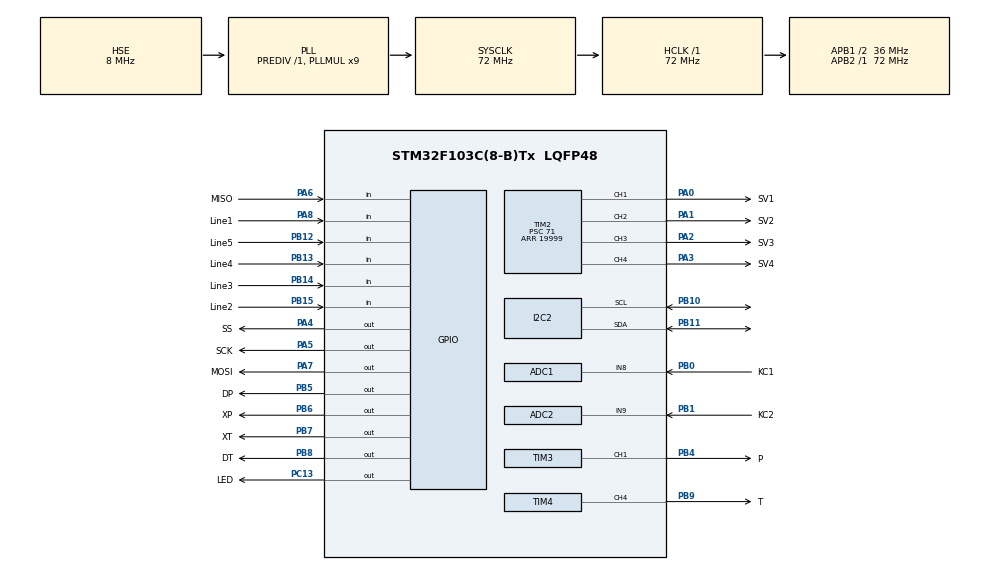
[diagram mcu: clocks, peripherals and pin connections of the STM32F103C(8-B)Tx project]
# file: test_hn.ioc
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ADC1.Channel-7\#ChannelRegularConversion=ADC_CHANNEL_8
ADC1.ContinuousConvMode=ENABLE
ADC1.NbrOfConversionFlag=1
ADC1.Rank-7\#ChannelRegularConversion=1
ADC1.SamplingTime-7\#ChannelRegularConversion=ADC_SAMPLETIME_239CYCLES_5
ADC1.master=1
ADC2.Channel-0\#ChannelRegularConversion=ADC_CHANNEL_9
ADC2.ContinuousConvMode=ENABLE
ADC2.NbrOfConversionFlag=1
ADC2.Rank-0\#ChannelRegularConversion=1
ADC2.SamplingTime-0\#ChannelRegularConversion=ADC_SAMPLETIME_239CYCLES_5
Mcu.Family=STM32F1
Mcu.Name=STM32F103C(8-B)Tx
Mcu.Package=LQFP48
NVIC.ADC1_2_IRQn=true\:0\:0\:false\:false\:true\:true\:true\:true
NVIC.PriorityGroup=NVIC_PRIORITYGROUP_4
PA0-WKUP.GPIO_Label=SV1
PA0-WKUP.Signal=S_TIM2_CH1_ETR
PA1.GPIO_Label=SV2
PA1.Signal=S_TIM2_CH2
PA13.Mode=Serial_Wire
PA13.Signal=SYS_JTMS-SWDIO
PA14.Mode=Serial_Wire
PA14.Signal=SYS_JTCK-SWCLK
PA2.GPIO_Label=SV3
PA2.Signal=S_TIM2_CH3
PA3.GPIO_Label=SV4
PA3.Signal=S_TIM2_CH4
PA4.GPIO_Label=SS
PA4.PinState=GPIO_PIN_SET
PA4.Signal=GPIO_Output
PA5.GPIO_Label=SCK
PA5.PinState=GPIO_PIN_SET
PA5.Signal=GPIO_Output
PA6.GPIO_Label=MISO
PA6.Signal=GPIO_Input
PA7.GPIO_Label=MOSI
PA7.PinState=GPIO_PIN_SET
PA7.Signal=GPIO_Output
PA8.GPIO_Label=Line1
PA8.Signal=GPIO_Input
PB0.GPIO_Label=KC1
PB0.Signal=ADCx_IN8
PB1.GPIO_Label=KC2
PB1.Signal=ADCx_IN9
PB10.Mode=I2C
PB10.Signal=I2C2_SCL
PB11.Mode=I2C
PB11.Signal=I2C2_SDA
PB12.GPIO_Label=Line5
PB12.Signal=GPIO_Input
PB13.GPIO_Label=Line4
PB13.Signal=GPIO_Input
PB14.GPIO_Label=Line3
PB14.Signal=GPIO_Input
PB15.GPIO_Label=Line2
PB15.Signal=GPIO_Input
PB4.GPIO_Label=P
PB4.Signal=S_TIM3_CH1
PB5.GPIO_Label=DP
PB5.Signal=GPIO_Output
PB6.GPIO_Label=XP
PB6.Signal=GPIO_Output
PB7.GPIO_Label=XT
PB7.Signal=GPIO_Output
PB8.GPIO_Label=DT
PB8.Signal=GPIO_Output
PB9.GPIO_Label=T
PB9.Signal=S_TIM4_CH4
PC13-TAMPER-RTC.GPIO_Label=LED
PC13-TAMPER-RTC.Signal=GPIO_Output
PD0-OSC_IN.Mode=HSE-External-Oscillator
PD0-OSC_IN.Signal=RCC_OSC_IN
PD1-OSC_OUT.Mode=HSE-External-Oscillator
PD1-OSC_OUT.Signal=RCC_OSC_OUT
ProjectManager.HeapSize=0x200
ProjectManager.StackSize=0x400
ProjectManager.TargetToolchain=MDK-ARM V5.32
RCC.ADCPresc=RCC_ADCPCLK2_DIV6
RCC.AHBFreq_Value=72000000
RCC.APB1CLKDivider=RCC_HCLK_DIV2
RCC.APB1Freq_Value=36000000
RCC.APB1TimFreq_Value=72000000
RCC.APB2Freq_Value=72000000
RCC.APB2TimFreq_Value=72000000
RCC.HCLKFreq_Value=72000000
RCC.PLLMUL=RCC_PLL_MUL9
RCC.PLLSourceVirtual=RCC_PLLSOURCE_HSE
RCC.SYSCLKFreq_VALUE=72000000
RCC.SYSCLKSource=RCC_SYSCLKSOURCE_PLLCLK
RCC.USBFreq_Value=72000000
SH.ADCx_IN8.0=ADC1_IN8,IN8
SH.ADCx_IN9.0=ADC1_IN9
SH.ADCx_IN9.1=ADC2_IN9,IN9
SH.S_TIM2_CH1_ETR.0=TIM2_CH1,PWM Generation1 CH1
SH.S_TIM2_CH2.0=TIM2_CH2,PWM Generation2 CH2
SH.S_TIM2_CH3.0=TIM2_CH3,PWM Generation3 CH3
SH.S_TIM2_CH4.0=TIM2_CH4,PWM Generation4 CH4
SH.S_TIM3_CH1.0=TIM3_CH1,PWM Generation1 CH1
SH.S_TIM4_CH4.0=TIM4_CH4,PWM Generation4 CH4
TIM1.Period=65535
TIM1.Prescaler=71
TIM2.Channel-PWM\ Generation1\ CH1=TIM_CHANNEL_1
TIM2.Channel-PWM\ Generation2\ CH2=TIM_CHANNEL_2
TIM2.Channel-PWM\ Generation3\ CH3=TIM_CHANNEL_3
TIM2.Channel-PWM\ Generation4\ CH4=TIM_CHANNEL_4
TIM2.Period=19999
TIM2.Prescaler=71
TIM3.Channel-PWM\ Generation1\ CH1=TIM_CHANNEL_1
TIM3.Period=999
TIM3.Prescaler=71
TIM4.Channel-PWM\ Generation4\ CH4=TIM_CHANNEL_4
TIM4.Period=999
TIM4.Prescaler=71
VP_TIM1_VS_ClockSourceINT.Mode=Internal
VP_TIM2_VS_ClockSourceINT.Mode=Internal
VP_TIM3_VS_ClockSourceINT.Mode=Internal
VP_TIM4_VS_ClockSourceINT.Mode=Internal
board=custom

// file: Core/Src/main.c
/* USER CODE BEGIN Header */
/**
  ******************************************************************************
  * @file           : main.c
  * @brief          : Main program body
  ******************************************************************************
  * @attention
  *
  * Copyright (c) 2022 STMicroelectronics.
  * All rights reserved.
  *
  * This software is licensed under terms that can be found in the LICENSE file
  * in the root directory of this software component.
  * If no LICENSE file comes with this software, it is provided AS-IS.
  *
  ******************************************************************************
  */
/* USER CODE END Header */
#include "main.h"
#include "PS2/PS2.h"
#include "i2c-lcd.h"
/* USER CODE BEGIN Includes */
PS2Buttons PS2;
int mode1=0, mode2=0;
int read=0X00000000;
uint16_t kc1, kc2;
int memory, value, new_value,P=0 ,I=0,D=0 , PID_value;
float  Ki=0.4, Kd=15, Kp=1;
float speedr, speedl;
	const uint16_t maxspeedr = 1000;
	const uint16_t maxspeedl = 1000;
	const uint16_t basespeedr = 900;
	const uint16_t basespeedl = 900;
	int last_P;
	int cua=0;
	int vat_can=0;
	int s1, s2, s3, tt;
/* USER CODE END Includes */

 ADC_HandleTypeDef hadc1;
ADC_HandleTypeDef hadc2;

I2C_HandleTypeDef hi2c2;

TIM_HandleTypeDef htim1;
TIM_HandleTypeDef htim2;
TIM_HandleTypeDef htim3;
TIM_HandleTypeDef htim4;

void SystemClock_Config(void);
static void MX_GPIO_Init(void);
static void MX_ADC1_Init(void);
static void MX_TIM1_Init(void);
static void MX_TIM2_Init(void);
static void MX_TIM4_Init(void);
static void MX_TIM3_Init(void);
static void MX_ADC2_Init(void);
static void MX_I2C2_Init(void);
/* USER CODE BEGIN PFP */
void HAL_ADC_ConvCpltCallback(ADC_HandleTypeDef* hadc)
{
		if (hadc-> Instance==ADC1)
	 {kc1=HAL_ADC_GetValue(&hadc1);
	 }
		if (hadc-> Instance==ADC2)
	 {kc2=HAL_ADC_GetValue(&hadc2);
	 }

	}
uint16_t read_line(void)
	{     /* USER CODE END WHILE */
  /* USER CODE END WHILE */
if(HAL_GPIO_ReadPin(Line1_GPIO_Port, Line1_Pin)==1){
	read |=0x00000001;
}
else{read&=0x11111110;}

if(HAL_GPIO_ReadPin(Line2_GPIO_Port, Line2_Pin)==1){
	read |=0x00000010;
}
else{read&=0x11111101;}
if(HAL_GPIO_ReadPin(Line3_GPIO_Port, Line3_Pin)==1){
	read|=0x00000100;
}
else{read&=0x11111011;}
if(HAL_GPIO_ReadPin(Line4_GPIO_Port, Line4_Pin)==1){
	read |=0x00001000;
}
else{read&=0x11110111;}
if(HAL_GPIO_ReadPin(Line5_GPIO_Port, Line5_Pin)==1){
	read |=0x00010000;
}
else{read&=0x11101111;}
return read;
HAL_Delay(20);

		}
void speed(uint16_t T, uint16_t P)
{
	htim3.Instance->CCR1=(P-50);
	htim4.Instance->CCR4=(T-50);
	}
void Go(void)
	{ 		 HAL_GPIO_WritePin(DT_GPIO_Port, DT_Pin, GPIO_PIN_RESET);
				 HAL_GPIO_WritePin(XT_GPIO_Port, XT_Pin, GPIO_PIN_SET);
				 HAL_GPIO_WritePin(DP_GPIO_Port, DP_Pin, GPIO_PIN_RESET);
				 HAL_GPIO_WritePin(XP_GPIO_Port, XP_Pin, GPIO_PIN_SET);
		}
void Back(void)
	{			 HAL_GPIO_WritePin(DT_GPIO_Port, DT_Pin, GPIO_PIN_SET);
				 HAL_GPIO_WritePin(XT_GPIO_Port, XT_Pin, GPIO_PIN_RESET);
				 HAL_GPIO_WritePin(DP_GPIO_Port, DP_Pin, GPIO_PIN_SET);
				 HAL_GPIO_WritePin(XP_GPIO_Port, XP_Pin, GPIO_PIN_RESET);
		}
void Left(void)
	{			 HAL_GPIO_WritePin(DT_GPIO_Port, DT_Pin, GPIO_PIN_RESET);
				 HAL_GPIO_WritePin(XT_GPIO_Port, XT_Pin, GPIO_PIN_SET);
				 HAL_GPIO_WritePin(DP_GPIO_Port, DP_Pin, GPIO_PIN_RESET);
				 HAL_GPIO_WritePin(XP_GPIO_Port, XP_Pin, GPIO_PIN_RESET);
		}
 void Right(void)
	 {		 HAL_GPIO_WritePin(DT_GPIO_Port, DT_Pin, GPIO_PIN_RESET);
				 HAL_GPIO_WritePin(XT_GPIO_Port, XT_Pin, GPIO_PIN_RESET);
				 HAL_GPIO_WritePin(DP_GPIO_Port, DP_Pin, GPIO_PIN_RESET);
				 HAL_GPIO_WritePin(XP_GPIO_Port, XP_Pin, GPIO_PIN_SET);
		 }
	void Left2(void)
	{			 HAL_GPIO_WritePin(DT_GPIO_Port, DT_Pin, GPIO_PIN_SET);
				 HAL_GPIO_WritePin(XT_GPIO_Port, XT_Pin, GPIO_PIN_RESET);
				 HAL_GPIO_WritePin(DP_GPIO_Port, DP_Pin, GPIO_PIN_RESET);
				 HAL_GPIO_WritePin(XP_GPIO_Port, XP_Pin, GPIO_PIN_SET);
	  }
	void Right2(void)
	{      HAL_GPIO_WritePin(DT_GPIO_Port, DT_Pin, GPIO_PIN_RESET);
				 HAL_GPIO_WritePin(XT_GPIO_Port, XT_Pin, GPIO_PIN_SET);
				 HAL_GPIO_WritePin(DP_GPIO_Port, DP_Pin, GPIO_PIN_SET);
				 HAL_GPIO_WritePin(XP_GPIO_Port, XP_Pin, GPIO_PIN_RESET);
	   }

  void Stop(void)
		{    HAL_GPIO_WritePin(DT_GPIO_Port, DT_Pin, GPIO_PIN_RESET);
				 HAL_GPIO_WritePin(XT_GPIO_Port, XT_Pin, GPIO_PIN_RESET);
				 HAL_GPIO_WritePin(DP_GPIO_Port, DP_Pin, GPIO_PIN_RESET);
				 HAL_GPIO_WritePin(XP_GPIO_Port, XP_Pin, GPIO_PIN_RESET);
			}
void read_value(void)
{ if (read==0)
	{value=-5;
	  }
	else if(read==1)
	{value=4;
		}
	else if(read==17)
	{value=3;
		}
	else if(read==16)
	{value=2;
		}
	else if(read==272)
	{value=1;
		}
	else if(read==256)
	{value=0;
		}
	else if(read==4352)
	{value=-1;
		}
	else if(read==4096)
	{value=-2;
		}
	else if(read==4352)
	{value=-1;
		}
	else if(read==4096)
	{value=-2;
		}
		else if(read==69632)
	{value=-3;
		}
	else if(read==65536)
	{value=-4;
		}
	}
void algorithm(void)
	{ read_value();
		switch (read)
		{
		 case 0:
			{
				if(memory==0)
				{
				 speed(700,1000);
				 Right2();
				}
				else
				{
				 speed(1000,700);
				 Left2();
         }
			}
		 break;
		 case 0x00000111:
			{ if(cua==1){
				speed(750,700);
		  	}
			  else{
				speed(900,700);}
		  	Right2();
				memory=0;

				}
		 break;
		 case 0x00000001:
			{ if(cua==1){
				speed(750,700);
		  	}
			  else{
				speed(900,700);}
		  	Right2();
				memory=0;

				}
		 break;
		 case 0x00000011:
			{ if(cua==1){
				speed(750,700);}
				else{
				speed(900,700);}
				 Right2();
				memory=0;

				}
		 break;
		 case 0x00000010:
			{ if(cua==1){
				speed(750,700);}
			  else{
				speed(800,700);}
				 Right2();
				memory=0;

			}
		 break;
		 case 0x00000110:
			{ if(cua==1){
				speed(750,700);}
			  else{
				speed(800,700);}
				 Right2();

				}
		 break;
		 case 0x00000100:
			{ if(cua==1)
				{speed(750,750);}
				else{
				speed(800,800);}
				 Go();
				}
		 break;
		 case 0x00001100:
			{  if(cua==1)
				{speed (700,800);}
         else{
					speed(700,850);
         }
				 Left2();
			}
			break;
		 case 0x00001000:
			{  if(cua==1)
				{speed(700,750);}
        else{speed(700,850);}
         Left2();
				 memory=1;
			}
		 break;
		 case 0x00011000:
			{ if(cua==1)
        {speed(700,750);}
				else
				{speed(700,900);}
				 Left2();
				 memory=1;

			}
		 break;
		 case 0x00010000:
		 case 0x00011100:
			{  if(cua==1)
				 {speed(700,950);}
         else{speed(700,1000);}
         Left2();
				 memory=1;

			}
		  break;
     case 0x00011111:
			{ if(cua==0)
				{speed(1000,1000);
         Go();}
				else
				{speed(650,1000);
					Right2();
					cua=0;
		HAL_Delay(400);
			  }
			}
		  break;

     case 0x00000101:
		 case 0x00001101:
		 case 0x00010101:
		 case 0x00010110:
		 case 0x00010100:
		 {Go();
			 speed(1000,1000);
			 cua=1;
		 }
	}
}

	void pid(void)
{

	P=0-value;
	I+=P;
	D=value-last_P;
	PID_value=Kp*P+Ki*I+Kd*D;
	last_P=P;
	speedr=PID_value+basespeedr;
	speedl=PID_value+basespeedl;
	if(speedr>maxspeedr)
		{ speedr=maxspeedr;
			}
	if(speedl>maxspeedl)
		{ speedl=maxspeedl;
			}
	speed(speedr,speedl);
 }
void LCD(void)
	{lcd_init();
lcd_goto_XY(1,4);
lcd_send_string("QUOC HUY;");
HAL_Delay(30);

		}
/* USER CODE END PFP */

int main(void)
{

  /* MCU Configuration--------------------------------------------------------*/

  /* Reset of all peripherals, Initializes the Flash interface and the Systick. */
  HAL_Init();

  /* Configure the system clock */
  SystemClock_Config();

  /* Initialize all configured peripherals */
  MX_GPIO_Init();
  MX_ADC1_Init();
  MX_TIM1_Init();
  MX_TIM2_Init();
  MX_TIM4_Init();
  MX_TIM3_Init();
  MX_ADC2_Init();
  MX_I2C2_Init();
	lcd_init();
  /* USER CODE BEGIN 2 */
	PS2_Init(&htim1, &PS2);
HAL_ADC_Start_IT(&hadc1);
HAL_ADC_Start_IT(&hadc2);
HAL_TIM_PWM_Start(&htim2,TIM_CHANNEL_1);
HAL_TIM_PWM_Start(&htim2,TIM_CHANNEL_2);
HAL_TIM_PWM_Start(&htim2,TIM_CHANNEL_3);
HAL_TIM_PWM_Start(&htim2,TIM_CHANNEL_4);
HAL_TIM_PWM_Start(&htim3,TIM_CHANNEL_1);
HAL_TIM_PWM_Start(&htim4,TIM_CHANNEL_4);
  /* USER CODE END 2 */

LCD();
htim2.Instance->CCR1=1500;
htim2.Instance->CCR3=1500;
htim2.Instance->CCR4=1500;
  /* Infinite loop */
  /* USER CODE BEGIN WHILE */
  while (1)
  {
		HAL_ADC_Start_IT(&hadc1);
		HAL_ADC_Start_IT(&hadc2);
    /* USER CODE END WHILE */
    /* USER CODE END WHILE */
PS2_Update();
 if(mode1==0)
  { speed(1000,1000);
		if (PS2.UP) {
		Go();
    HAL_GPIO_WritePin(LED_GPIO_Port, LED_Pin, GPIO_PIN_RESET);
  } else if (PS2.DOWN) {
    HAL_GPIO_WritePin(LED_GPIO_Port, LED_Pin, GPIO_PIN_RESET);
    Back();
	}
	else if (PS2.LEFT) {
    HAL_GPIO_WritePin(LED_GPIO_Port, LED_Pin, GPIO_PIN_RESET);
    Left();
	}
	else if (PS2.RIGHT) {
    HAL_GPIO_WritePin(LED_GPIO_Port, LED_Pin, GPIO_PIN_SET);
    Right();
	} else if (PS2.L1){
	if(s1>=2450)  {
	 continue;
   }
	htim2.Instance-> CCR1=s1;
	s1=s1+2;
	}
  else if (PS2.L2){
	if(s1<=550)  {
		continue;
		}
	htim2.Instance-> CCR1=s1;
	s1=s1-2;
	}
	else if (PS2.L3){
  Left2();
	HAL_Delay(8);
	Stop();
  }
	else if (PS2.R3){
	Right2();
	HAL_Delay(8);
	Stop();
	}
	else if (PS2.CROSS){
	htim2.Instance-> CCR3=1650;
	HAL_Delay(10);
	htim2.Instance-> CCR3=1500;
	HAL_Delay(10);
	htim2.Instance-> CCR1=850;
	HAL_Delay(10);
	htim2.Instance-> CCR4=1650;
	htim2.Instance-> CCR3=2450;
  s3=2450;
  s2=1650;
	s1=850;
	}
	else if (PS2.TRIANGLE){
	htim2.Instance-> CCR4=600;
	HAL_Delay(100);
	htim2.Instance-> CCR3=1750;
	htim2.Instance-> CCR1=1350;
		s3=1750;
		s2=600;
		s1=1350;
	}
  else if (PS2.R1){
	if(s3>=2450)  {
	 continue;
   }
	htim2.Instance-> CCR3=s3;
	s3=s3+4;
	}
  else if (PS2.R2){
	if(s3<=550)  {
		continue;
		}
	htim2.Instance-> CCR3=s3;
	s3=s3-4;
	}
	  else if (PS2.CIRCLE){
	if(s2>=2450)  {
	 continue;
   }
	htim2.Instance-> CCR4=s2;
	s2=s2+2;
	}
  else if (PS2.SQUARE){
	if(s2<=550)  {
		continue;
		}
	htim2.Instance-> CCR4=s2;
	s2=s2-2;
	}
	else if (PS2.SELECT)
		{ if(mode1!=0)
			{continue;}
			mode1=~mode1;
			}
	else{
		Stop();
		}

	}
	else
	{  if(PS2.START)
		{if(mode1==0)
			{continue;}
			mode1=~mode1;
			}
if(kc1>2500)
	{
		Left();
		speed(1000,1000);
		HAL_Delay(300);
		Go();
		speed(1000,1000);
		HAL_Delay(300);
		Right();
		speed(1000,1000);
		HAL_Delay(750);
    Left();
		HAL_Delay(400);}
	else if(kc2>2500)
	 { Right();
		speed(1000,1000);
		HAL_Delay(300);
		Go();
		speed(1000,1000);
		HAL_Delay(300);
		Left();
		speed(1000,1000);
		HAL_Delay(750);
    Right();
		HAL_Delay(400);}
	else{
	read_line();
	algorithm();}
		}

	HAL_Delay(2);
 }
}

/**  * @brief System Clock Configuration
  * @retval None
  */
void SystemClock_Config(void)
{
  RCC_OscInitTypeDef RCC_OscInitStruct = {0};
  RCC_ClkInitTypeDef RCC_ClkInitStruct = {0};
  RCC_PeriphCLKInitTypeDef PeriphClkInit = {0};

  /** Initializes the RCC Oscillators according to the specified parameters
  * in the RCC_OscInitTypeDef structure.
  */
  RCC_OscInitStruct.OscillatorType = RCC_OSCILLATORTYPE_HSE;
  RCC_OscInitStruct.HSEState = RCC_HSE_ON;
  RCC_OscInitStruct.HSEPredivValue = RCC_HSE_PREDIV_DIV1;
  RCC_OscInitStruct.HSIState = RCC_HSI_ON;
  RCC_OscInitStruct.PLL.PLLState = RCC_PLL_ON;
  RCC_OscInitStruct.PLL.PLLSource = RCC_PLLSOURCE_HSE;
  RCC_OscInitStruct.PLL.PLLMUL = RCC_PLL_MUL9;
  if (HAL_RCC_OscConfig(&RCC_OscInitStruct) != HAL_OK)
  {
    Error_Handler();
  }

  /** Initializes the CPU, AHB and APB buses clocks
  */
  RCC_ClkInitStruct.ClockType = RCC_CLOCKTYPE_HCLK|RCC_CLOCKTYPE_SYSCLK
                              |RCC_CLOCKTYPE_PCLK1|RCC_CLOCKTYPE_PCLK2;
  RCC_ClkInitStruct.SYSCLKSource = RCC_SYSCLKSOURCE_PLLCLK;
  RCC_ClkInitStruct.AHBCLKDivider = RCC_SYSCLK_DIV1;
  RCC_ClkInitStruct.APB1CLKDivider = RCC_HCLK_DIV2;
  RCC_ClkInitStruct.APB2CLKDivider = RCC_HCLK_DIV1;

  if (HAL_RCC_ClockConfig(&RCC_ClkInitStruct, FLASH_LATENCY_2) != HAL_OK)
  {
    Error_Handler();
  }
  PeriphClkInit.PeriphClockSelection = RCC_PERIPHCLK_ADC;
  PeriphClkInit.AdcClockSelection = RCC_ADCPCLK2_DIV6;
  if (HAL_RCCEx_PeriphCLKConfig(&PeriphClkInit) != HAL_OK)
  {
    Error_Handler();
  }
}

static void MX_ADC1_Init(void)
{

  ADC_ChannelConfTypeDef sConfig = {0};

  /** Common config
  */
  hadc1.Instance = ADC1;
  hadc1.Init.ScanConvMode = ADC_SCAN_DISABLE;
  hadc1.Init.ContinuousConvMode = ENABLE;
  hadc1.Init.DiscontinuousConvMode = DISABLE;
  hadc1.Init.ExternalTrigConv = ADC_SOFTWARE_START;
  hadc1.Init.DataAlign = ADC_DATAALIGN_RIGHT;
  hadc1.Init.NbrOfConversion = 1;
  if (HAL_ADC_Init(&hadc1) != HAL_OK)
  {
    Error_Handler();
  }

  /** Configure Regular Channel
  */
  sConfig.Channel = ADC_CHANNEL_8;
  sConfig.Rank = ADC_REGULAR_RANK_1;
  sConfig.SamplingTime = ADC_SAMPLETIME_239CYCLES_5;
  if (HAL_ADC_ConfigChannel(&hadc1, &sConfig) != HAL_OK)
  {
    Error_Handler();
  }

}

static void MX_ADC2_Init(void)
{

  ADC_ChannelConfTypeDef sConfig = {0};

  /** Common config
  */
  hadc2.Instance = ADC2;
  hadc2.Init.ScanConvMode = ADC_SCAN_DISABLE;
  hadc2.Init.ContinuousConvMode = ENABLE;
  hadc2.Init.DiscontinuousConvMode = DISABLE;
  hadc2.Init.ExternalTrigConv = ADC_SOFTWARE_START;
  hadc2.Init.DataAlign = ADC_DATAALIGN_RIGHT;
  hadc2.Init.NbrOfConversion = 1;
  if (HAL_ADC_Init(&hadc2) != HAL_OK)
  {
    Error_Handler();
  }

  /** Configure Regular Channel
  */
  sConfig.Channel = ADC_CHANNEL_9;
  sConfig.Rank = ADC_REGULAR_RANK_1;
  sConfig.SamplingTime = ADC_SAMPLETIME_239CYCLES_5;
  if (HAL_ADC_ConfigChannel(&hadc2, &sConfig) != HAL_OK)
  {
    Error_Handler();
  }

}

static void MX_I2C2_Init(void)
{

  hi2c2.Instance = I2C2;
  hi2c2.Init.ClockSpeed = 100000;
  hi2c2.Init.DutyCycle = I2C_DUTYCYCLE_2;
  hi2c2.Init.OwnAddress1 = 0;
  hi2c2.Init.AddressingMode = I2C_ADDRESSINGMODE_7BIT;
  hi2c2.Init.DualAddressMode = I2C_DUALADDRESS_DISABLE;
  hi2c2.Init.OwnAddress2 = 0;
  hi2c2.Init.GeneralCallMode = I2C_GENERALCALL_DISABLE;
  hi2c2.Init.NoStretchMode = I2C_NOSTRETCH_DISABLE;
  if (HAL_I2C_Init(&hi2c2) != HAL_OK)
  {
    Error_Handler();
  }

}

static void MX_TIM1_Init(void)
{

  TIM_ClockConfigTypeDef sClockSourceConfig = {0};
  TIM_MasterConfigTypeDef sMasterConfig = {0};

  htim1.Instance = TIM1;
  htim1.Init.Prescaler = 71;
  htim1.Init.CounterMode = TIM_COUNTERMODE_UP;
  htim1.Init.Period = 65535;
  htim1.Init.ClockDivision = TIM_CLOCKDIVISION_DIV1;
  htim1.Init.RepetitionCounter = 0;
  htim1.Init.AutoReloadPreload = TIM_AUTORELOAD_PRELOAD_DISABLE;
  if (HAL_TIM_Base_Init(&htim1) != HAL_OK)
  {
    Error_Handler();
  }
  sClockSourceConfig.ClockSource = TIM_CLOCKSOURCE_INTERNAL;
  if (HAL_TIM_ConfigClockSource(&htim1, &sClockSourceConfig) != HAL_OK)
  {
    Error_Handler();
  }
  sMasterConfig.MasterOutputTrigger = TIM_TRGO_RESET;
  sMasterConfig.MasterSlaveMode = TIM_MASTERSLAVEMODE_DISABLE;
  if (HAL_TIMEx_MasterConfigSynchronization(&htim1, &sMasterConfig) != HAL_OK)
  {
    Error_Handler();
  }

}

static void MX_TIM2_Init(void)
{

  TIM_ClockConfigTypeDef sClockSourceConfig = {0};
  TIM_MasterConfigTypeDef sMasterConfig = {0};
  TIM_OC_InitTypeDef sConfigOC = {0};

  htim2.Instance = TIM2;
  htim2.Init.Prescaler = 71;
  htim2.Init.CounterMode = TIM_COUNTERMODE_UP;
  htim2.Init.Period = 19999;
  htim2.Init.ClockDivision = TIM_CLOCKDIVISION_DIV1;
  htim2.Init.AutoReloadPreload = TIM_AUTORELOAD_PRELOAD_DISABLE;
  if (HAL_TIM_Base_Init(&htim2) != HAL_OK)
  {
    Error_Handler();
  }
  sClockSourceConfig.ClockSource = TIM_CLOCKSOURCE_INTERNAL;
  if (HAL_TIM_ConfigClockSource(&htim2, &sClockSourceConfig) != HAL_OK)
  {
    Error_Handler();
  }
  if (HAL_TIM_PWM_Init(&htim2) != HAL_OK)
  {
    Error_Handler();
  }
  sMasterConfig.MasterOutputTrigger = TIM_TRGO_RESET;
  sMasterConfig.MasterSlaveMode = TIM_MASTERSLAVEMODE_DISABLE;
  if (HAL_TIMEx_MasterConfigSynchronization(&htim2, &sMasterConfig) != HAL_OK)
  {
    Error_Handler();
  }
  sConfigOC.OCMode = TIM_OCMODE_PWM1;
  sConfigOC.Pulse = 0;
  sConfigOC.OCPolarity = TIM_OCPOLARITY_HIGH;
  sConfigOC.OCFastMode = TIM_OCFAST_DISABLE;
  if (HAL_TIM_PWM_ConfigChannel(&htim2, &sConfigOC, TIM_CHANNEL_1) != HAL_OK)
  {
    Error_Handler();
  }
  if (HAL_TIM_PWM_ConfigChannel(&htim2, &sConfigOC, TIM_CHANNEL_2) != HAL_OK)
  {
    Error_Handler();
  }
  if (HAL_TIM_PWM_ConfigChannel(&htim2, &sConfigOC, TIM_CHANNEL_3) != HAL_OK)
  {
    Error_Handler();
  }
  if (HAL_TIM_PWM_ConfigChannel(&htim2, &sConfigOC, TIM_CHANNEL_4) != HAL_OK)
  {
    Error_Handler();
  }
  HAL_TIM_MspPostInit(&htim2);

}

static void MX_TIM3_Init(void)
{

  TIM_ClockConfigTypeDef sClockSourceConfig = {0};
  TIM_MasterConfigTypeDef sMasterConfig = {0};
  TIM_OC_InitTypeDef sConfigOC = {0};

  htim3.Instance = TIM3;
  htim3.Init.Prescaler = 71;
  htim3.Init.CounterMode = TIM_COUNTERMODE_UP;
  htim3.Init.Period = 999;
  htim3.Init.ClockDivision = TIM_CLOCKDIVISION_DIV1;
  htim3.Init.AutoReloadPreload = TIM_AUTORELOAD_PRELOAD_DISABLE;
  if (HAL_TIM_Base_Init(&htim3) != HAL_OK)
  {
    Error_Handler();
  }
  sClockSourceConfig.ClockSource = TIM_CLOCKSOURCE_INTERNAL;
  if (HAL_TIM_ConfigClockSource(&htim3, &sClockSourceConfig) != HAL_OK)
  {
    Error_Handler();
  }
  if (HAL_TIM_PWM_Init(&htim3) != HAL_OK)
  {
    Error_Handler();
  }
  sMasterConfig.MasterOutputTrigger = TIM_TRGO_RESET;
  sMasterConfig.MasterSlaveMode = TIM_MASTERSLAVEMODE_DISABLE;
  if (HAL_TIMEx_MasterConfigSynchronization(&htim3, &sMasterConfig) != HAL_OK)
  {
    Error_Handler();
  }
  sConfigOC.OCMode = TIM_OCMODE_PWM1;
  sConfigOC.Pulse = 0;
  sConfigOC.OCPolarity = TIM_OCPOLARITY_HIGH;
  sConfigOC.OCFastMode = TIM_OCFAST_DISABLE;
  if (HAL_TIM_PWM_ConfigChannel(&htim3, &sConfigOC, TIM_CHANNEL_1) != HAL_OK)
  {
    Error_Handler();
  }
  HAL_TIM_MspPostInit(&htim3);

}

static void MX_TIM4_Init(void)
{

  TIM_ClockConfigTypeDef sClockSourceConfig = {0};
  TIM_MasterConfigTypeDef sMasterConfig = {0};
  TIM_OC_InitTypeDef sConfigOC = {0};

  htim4.Instance = TIM4;
  htim4.Init.Prescaler = 71;
  htim4.Init.CounterMode = TIM_COUNTERMODE_UP;
  htim4.Init.Period = 999;
  htim4.Init.ClockDivision = TIM_CLOCKDIVISION_DIV1;
  htim4.Init.AutoReloadPreload = TIM_AUTORELOAD_PRELOAD_DISABLE;
  if (HAL_TIM_Base_Init(&htim4) != HAL_OK)
  {
    Error_Handler();
  }
  sClockSourceConfig.ClockSource = TIM_CLOCKSOURCE_INTERNAL;
  if (HAL_TIM_ConfigClockSource(&htim4, &sClockSourceConfig) != HAL_OK)
  {
    Error_Handler();
  }
  if (HAL_TIM_PWM_Init(&htim4) != HAL_OK)
  {
    Error_Handler();
  }
  sMasterConfig.MasterOutputTrigger = TIM_TRGO_RESET;
  sMasterConfig.MasterSlaveMode = TIM_MASTERSLAVEMODE_DISABLE;
  if (HAL_TIMEx_MasterConfigSynchronization(&htim4, &sMasterConfig) != HAL_OK)
  {
    Error_Handler();
  }
  sConfigOC.OCMode = TIM_OCMODE_PWM1;
  sConfigOC.Pulse = 0;
  sConfigOC.OCPolarity = TIM_OCPOLARITY_HIGH;
  sConfigOC.OCFastMode = TIM_OCFAST_DISABLE;
  if (HAL_TIM_PWM_ConfigChannel(&htim4, &sConfigOC, TIM_CHANNEL_4) != HAL_OK)
  {
    Error_Handler();
  }
  HAL_TIM_MspPostInit(&htim4);

}

static void MX_GPIO_Init(void)
{
  GPIO_InitTypeDef GPIO_InitStruct = {0};

  /* GPIO Ports Clock Enable */
  __HAL_RCC_GPIOC_CLK_ENABLE();
  __HAL_RCC_GPIOD_CLK_ENABLE();
  __HAL_RCC_GPIOA_CLK_ENABLE();
  __HAL_RCC_GPIOB_CLK_ENABLE();

  /*Configure GPIO pin Output Level */
  HAL_GPIO_WritePin(LED_GPIO_Port, LED_Pin, GPIO_PIN_RESET);

  /*Configure GPIO pin Output Level */
  HAL_GPIO_WritePin(GPIOA, SS_Pin|SCK_Pin|MOSI_Pin, GPIO_PIN_SET);

  /*Configure GPIO pin Output Level */
  HAL_GPIO_WritePin(GPIOB, DP_Pin|XP_Pin|XT_Pin|DT_Pin, GPIO_PIN_RESET);

  /*Configure GPIO pin : LED_Pin */
  GPIO_InitStruct.Pin = LED_Pin;
  GPIO_InitStruct.Mode = GPIO_MODE_OUTPUT_PP;
  GPIO_InitStruct.Pull = GPIO_NOPULL;
  GPIO_InitStruct.Speed = GPIO_SPEED_FREQ_LOW;
  HAL_GPIO_Init(LED_GPIO_Port, &GPIO_InitStruct);

  /*Configure GPIO pins : SS_Pin SCK_Pin MOSI_Pin */
  GPIO_InitStruct.Pin = SS_Pin|SCK_Pin|MOSI_Pin;
  GPIO_InitStruct.Mode = GPIO_MODE_OUTPUT_PP;
  GPIO_InitStruct.Pull = GPIO_NOPULL;
  GPIO_InitStruct.Speed = GPIO_SPEED_FREQ_LOW;
  HAL_GPIO_Init(GPIOA, &GPIO_InitStruct);

  /*Configure GPIO pins : MISO_Pin Line1_Pin */
  GPIO_InitStruct.Pin = MISO_Pin|Line1_Pin;
  GPIO_InitStruct.Mode = GPIO_MODE_INPUT;
  GPIO_InitStruct.Pull = GPIO_NOPULL;
  HAL_GPIO_Init(GPIOA, &GPIO_InitStruct);

  /*Configure GPIO pins : Line5_Pin Line4_Pin Line3_Pin Line2_Pin */
  GPIO_InitStruct.Pin = Line5_Pin|Line4_Pin|Line3_Pin|Line2_Pin;
  GPIO_InitStruct.Mode = GPIO_MODE_INPUT;
  GPIO_InitStruct.Pull = GPIO_NOPULL;
  HAL_GPIO_Init(GPIOB, &GPIO_InitStruct);

  /*Configure GPIO pins : DP_Pin XP_Pin XT_Pin DT_Pin */
  GPIO_InitStruct.Pin = DP_Pin|XP_Pin|XT_Pin|DT_Pin;
  GPIO_InitStruct.Mode = GPIO_MODE_OUTPUT_PP;
  GPIO_InitStruct.Pull = GPIO_NOPULL;
  GPIO_InitStruct.Speed = GPIO_SPEED_FREQ_LOW;
  HAL_GPIO_Init(GPIOB, &GPIO_InitStruct);

}

void Error_Handler(void)
{
  __disable_irq();
  while (1)
  {
  }
}
